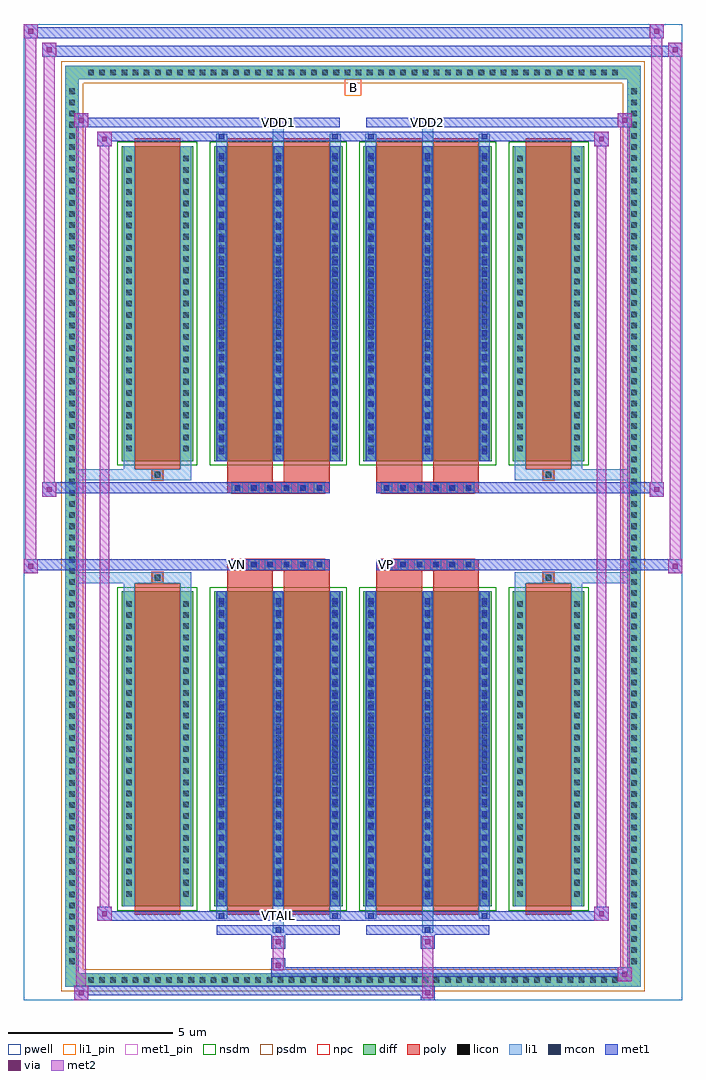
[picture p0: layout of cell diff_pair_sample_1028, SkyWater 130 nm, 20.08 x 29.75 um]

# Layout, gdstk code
import gdstk
lib = gdstk.Library(unit=1e-6, precision=5e-09)
def R(c, l, rs):  # rectangles x0, y0, x1, y1
    for r in rs: c.add(gdstk.rectangle(r[:2], r[2:], *l))
def A(c, l, x, y, w, h, nx, ny, dx, dy):  # array of equal rectangles
    R(c, l, [(x+i*dx, y+j*dy, x+i*dx+w, y+j*dy+h) for i in range(nx) for j in range(ny)])
def P(c, l, *ps):  # polygons
    for p in ps: c.add(gdstk.Polygon(p, *l))
pwell = (64, 44)
diff = (65, 20)
poly = (66, 20)
licon = (66, 44)
li1_pin = (67, 16)
li1 = (67, 20)
mcon = (67, 44)
met1_pin = (68, 16)
met1 = (68, 20)
via = (68, 44)
met2 = (69, 20)
nsdm = (93, 44)
psdm = (94, 20)
npc = (95, 20)

diff_pair_sample_1028 = lib.new_cell('diff_pair_sample_1028')
R(diff_pair_sample_1028, pwell, [(-10.04,-14.44,10.04,15.31), (-7.36,-12.63,-0.01,-0.805), (0.01,-12.63,7.36,-0.805), (-7.36,0.805,-0.01,12.63), (0.01,0.805,7.36,12.63)])
A(diff_pair_sample_1028, diff, -8.195, -14.04, 0.41, 0.41, 48, 2, 0.34, 27.67)
A(diff_pair_sample_1028, diff, -8.77, -13.465, 0.41, 0.41, 1, 79, 0, 0.34)
A(diff_pair_sample_1028, diff, 8.36, -13.465, 0.41, 0.41, 1, 79, 0, 0.34)
R(diff_pair_sample_1028, diff, [(-8.195,-14.04,8.195,-13.63), (-8.77,-13.465,-8.36,13.465), (8.36,-13.465,8.77,13.465), (-7.05,-11.585,-4.87,-1.985), (-4.23,-11.585,-0.32,-1.985), (0.32,-11.585,4.23,-1.985), (4.87,-11.585,7.05,-1.985), (-7.05,1.985,-4.87,11.585), (-4.23,1.985,-0.32,11.585), (0.32,1.985,4.23,11.585), (4.87,1.985,7.05,11.585), (-8.195,13.63,8.195,14.04)])
P(diff_pair_sample_1028, diff, [(8.77,14.04),(-8.77,14.04),(-8.77,-13.63),(-8.36,-13.63),(-8.36,13.63),(8.36,13.63),(8.36,-13.63),(-8.36,-13.63),(-8.77,-13.63),(-8.77,-14.04),(8.77,-14.04)])
A(diff_pair_sample_1028, poly, -3.69, -1.335, 0.33, 0.33, 6, 2, 0.5, 2.34)
A(diff_pair_sample_1028, poly, 0.86, -1.335, 0.33, 0.33, 6, 2, 0.5, 2.34)
R(diff_pair_sample_1028, poly, [(-6.66,-11.835,-5.26,-1.735), (-3.84,-11.835,-2.44,-1.735), (-2.11,-11.835,-0.71,-1.735), (0.71,-11.835,2.11,-1.735), (2.44,-11.835,3.84,-1.735), (5.26,-11.835,6.66,-1.735), (-6.125,-1.735,-5.795,-1.405), (-6.125,-1.735,-5.795,-1.405), (-3.84,-1.735,-2.44,-1.335), (-2.11,-1.735,-0.71,-1.335), (0.71,-1.735,2.11,-1.335), (2.44,-1.735,3.84,-1.335), (5.795,-1.735,6.125,-1.405), (5.795,-1.735,6.125,-1.405), (-3.84,-1.335,-0.71,-1.005), (0.71,-1.335,3.84,-1.005), (-3.84,1.005,-0.71,1.335), (0.71,1.005,3.84,1.335), (-3.84,1.335,-2.44,1.735), (-2.11,1.335,-0.71,1.735), (0.71,1.335,2.11,1.735), (2.44,1.335,3.84,1.735), (-6.125,1.405,-5.795,1.735), (-6.125,1.405,-5.795,1.735), (5.795,1.405,6.125,1.735), (5.795,1.405,6.125,1.735), (-6.66,1.735,-5.26,11.835), (-3.84,1.735,-2.44,11.835), (-2.11,1.735,-0.71,11.835), (0.71,1.735,2.11,11.835), (2.44,1.735,3.84,11.835), (5.26,1.735,6.66,11.835)])
A(diff_pair_sample_1028, licon, -8.075, -13.92, 0.17, 0.17, 48, 2, 0.34, 27.67)
A(diff_pair_sample_1028, licon, -8.65, -13.345, 0.17, 0.17, 1, 79, 0, 0.34)
A(diff_pair_sample_1028, licon, 8.48, -13.345, 0.17, 0.17, 1, 79, 0, 0.34)
A(diff_pair_sample_1028, licon, -6.91, -11.29, 0.17, 0.17, 1, 27, 0, 0.34)
A(diff_pair_sample_1028, licon, -5.18, -11.29, 0.17, 0.17, 1, 27, 0, 0.34)
A(diff_pair_sample_1028, licon, -4.09, -11.29, 0.17, 0.17, 3, 27, 1.73, 0.34)
A(diff_pair_sample_1028, licon, 0.46, -11.29, 0.17, 0.17, 3, 27, 1.73, 0.34)
A(diff_pair_sample_1028, licon, 5.01, -11.29, 0.17, 0.17, 1, 27, 0, 0.34)
A(diff_pair_sample_1028, licon, 6.74, -11.29, 0.17, 0.17, 1, 27, 0, 0.34)
A(diff_pair_sample_1028, licon, -3.61, -1.255, 0.17, 0.17, 6, 2, 0.5, 2.34)
A(diff_pair_sample_1028, licon, 0.94, -1.255, 0.17, 0.17, 6, 2, 0.5, 2.34)
A(diff_pair_sample_1028, licon, -6.91, 2.28, 0.17, 0.17, 1, 27, 0, 0.34)
A(diff_pair_sample_1028, licon, -5.18, 2.28, 0.17, 0.17, 1, 27, 0, 0.34)
A(diff_pair_sample_1028, licon, -4.09, 2.28, 0.17, 0.17, 3, 27, 1.73, 0.34)
A(diff_pair_sample_1028, licon, 0.46, 2.28, 0.17, 0.17, 3, 27, 1.73, 0.34)
A(diff_pair_sample_1028, licon, 5.01, 2.28, 0.17, 0.17, 1, 27, 0, 0.34)
A(diff_pair_sample_1028, licon, 6.74, 2.28, 0.17, 0.17, 1, 27, 0, 0.34)
R(diff_pair_sample_1028, licon, [(-6.045,-1.655,-5.875,-1.485), (5.875,-1.655,6.045,-1.485), (-6.045,1.485,-5.875,1.655), (5.875,1.485,6.045,1.655)])
R(diff_pair_sample_1028, li1_pin, [(-0.25,13.13,0.25,13.63)])
A(diff_pair_sample_1028, li1, -8.155, -14, 0.33, 0.33, 48, 2, 0.34, 27.67)
A(diff_pair_sample_1028, li1, -8.73, -13.425, 0.33, 0.33, 1, 79, 0, 0.34)
A(diff_pair_sample_1028, li1, 8.4, -13.425, 0.33, 0.33, 1, 79, 0, 0.34)
A(diff_pair_sample_1028, li1, -4.17, -11.585, 0.33, 9.6, 3, 2, 1.73, 13.57)
A(diff_pair_sample_1028, li1, 0.38, -11.585, 0.33, 9.6, 3, 2, 1.73, 13.57)
A(diff_pair_sample_1028, li1, -6.99, -11.37, 0.33, 0.33, 1, 27, 0, 0.34)
A(diff_pair_sample_1028, li1, -5.26, -11.37, 0.33, 0.33, 1, 27, 0, 0.34)
A(diff_pair_sample_1028, li1, -4.17, -11.37, 0.33, 0.33, 3, 27, 1.73, 0.34)
A(diff_pair_sample_1028, li1, -4.09, -11.37, 0.17, 0.17, 3, 26, 1.73, 0.36)
A(diff_pair_sample_1028, li1, -4.09, -11.37, 0.17, 9.17, 3, 2, 1.73, 13.57)
A(diff_pair_sample_1028, li1, 0.38, -11.37, 0.33, 0.33, 3, 27, 1.73, 0.34)
A(diff_pair_sample_1028, li1, 0.46, -11.37, 0.17, 0.17, 3, 26, 1.73, 0.36)
A(diff_pair_sample_1028, li1, 0.46, -11.37, 0.17, 9.17, 3, 2, 1.73, 13.57)
A(diff_pair_sample_1028, li1, 4.93, -11.37, 0.33, 0.33, 1, 27, 0, 0.34)
A(diff_pair_sample_1028, li1, 6.66, -11.37, 0.33, 0.33, 1, 27, 0, 0.34)
A(diff_pair_sample_1028, li1, -3.69, -1.335, 0.33, 0.33, 6, 2, 0.5, 2.34)
A(diff_pair_sample_1028, li1, 0.86, -1.335, 0.33, 0.33, 6, 2, 0.5, 2.34)
A(diff_pair_sample_1028, li1, -6.99, 2.2, 0.33, 0.33, 1, 27, 0, 0.34)
A(diff_pair_sample_1028, li1, -5.26, 2.2, 0.33, 0.33, 1, 27, 0, 0.34)
A(diff_pair_sample_1028, li1, -4.17, 2.2, 0.33, 0.33, 3, 27, 1.73, 0.34)
A(diff_pair_sample_1028, li1, -4.09, 2.2, 0.17, 0.17, 3, 26, 1.73, 0.36)
A(diff_pair_sample_1028, li1, 0.38, 2.2, 0.33, 0.33, 3, 27, 1.73, 0.34)
A(diff_pair_sample_1028, li1, 0.46, 2.2, 0.17, 0.17, 3, 26, 1.73, 0.36)
A(diff_pair_sample_1028, li1, 4.93, 2.2, 0.33, 0.33, 1, 27, 0, 0.34)
A(diff_pair_sample_1028, li1, 6.66, 2.2, 0.33, 0.33, 1, 27, 0, 0.34)
R(diff_pair_sample_1028, li1, [(-8.77,-14.04,-8.36,-13.63), (-8.77,-14.04,-8.36,-13.63), (-8.36,-14.04,8.36,-13.63), (8.36,-14.04,8.77,-13.63), (8.36,-14.04,8.77,-13.63), (-8.77,-13.63,-8.36,13.63), (8.36,-13.63,8.77,13.63), (-2.44,-12.39,-2.11,-11.585), (-2.36,-12.39,-2.19,-12.22), (2.11,-12.39,2.44,-11.585), (2.19,-12.39,2.36,-12.22), (-4.17,-11.96,-3.84,-11.585), (-4.09,-11.96,-3.92,-11.79), (-0.71,-11.96,-0.38,-11.585), (-0.63,-11.96,-0.46,-11.79), (0.38,-11.96,0.71,-11.585), (0.46,-11.96,0.63,-11.79), (3.84,-11.96,4.17,-11.585), (3.92,-11.96,4.09,-11.79), (-6.99,-11.585,-6.66,-1.985), (-5.26,-11.585,-4.93,-1.985), (4.93,-11.585,5.26,-1.985), (6.66,-11.585,6.99,-1.985), (-6.99,-1.985,-6.66,-1.405), (-5.26,-1.985,-4.93,-1.405), (4.93,-1.985,5.26,-1.405), (6.66,-1.985,6.99,-1.405), (-8.77,-1.735,-6.125,-1.405), (-6.99,-1.735,-6.125,-1.405), (-6.125,-1.735,-5.795,-1.405), (-5.795,-1.735,-4.93,-1.405), (4.93,-1.735,5.795,-1.405), (5.795,-1.735,6.125,-1.405), (5.795,-1.735,8.77,-1.405), (6.125,-1.735,6.99,-1.405), (-8.77,1.405,-6.125,1.735), (-6.99,1.405,-6.125,1.735), (-6.99,1.405,-6.66,1.985), (-6.125,1.405,-5.795,1.735), (-5.795,1.405,-4.93,1.735), (-5.26,1.405,-4.93,1.985), (4.93,1.405,5.795,1.735), (4.93,1.405,5.26,1.985), (5.795,1.405,6.125,1.735), (5.795,1.405,8.77,1.735), (6.125,1.405,6.99,1.735), (6.66,1.405,6.99,1.985), (-6.99,1.985,-6.66,11.585), (-5.26,1.985,-4.93,11.585), (4.93,1.985,5.26,11.585), (6.66,1.985,6.99,11.585), (-4.17,11.585,-3.84,11.96), (-2.44,11.585,-2.11,12.39), (-0.71,11.585,-0.38,11.96), (0.38,11.585,0.71,11.96), (2.11,11.585,2.44,12.39), (3.84,11.585,4.17,11.96), (-4.09,11.79,-3.92,11.96), (-0.63,11.79,-0.46,11.96), (0.46,11.79,0.63,11.96), (3.92,11.79,4.09,11.96), (-2.36,12.22,-2.19,12.39), (2.19,12.22,2.36,12.39), (-8.77,13.63,-8.36,14.04), (-8.77,13.63,-8.36,14.04), (-8.36,13.63,8.36,14.04), (8.36,13.63,8.77,14.04), (8.36,13.63,8.77,14.04)])
A(diff_pair_sample_1028, mcon, -4.09, -11.37, 0.17, 0.17, 3, 26, 1.73, 0.36)
A(diff_pair_sample_1028, mcon, 0.46, -11.37, 0.17, 0.17, 3, 26, 1.73, 0.36)
A(diff_pair_sample_1028, mcon, -3.61, -1.255, 0.17, 0.17, 6, 2, 0.5, 2.34)
A(diff_pair_sample_1028, mcon, 0.94, -1.255, 0.17, 0.17, 6, 2, 0.5, 2.34)
A(diff_pair_sample_1028, mcon, -4.09, 2.2, 0.17, 0.17, 3, 26, 1.73, 0.36)
A(diff_pair_sample_1028, mcon, 0.46, 2.2, 0.17, 0.17, 3, 26, 1.73, 0.36)
R(diff_pair_sample_1028, mcon, [(-2.36,-12.39,-2.19,-12.22), (2.19,-12.39,2.36,-12.22), (-4.09,-11.96,-3.92,-11.79), (-0.63,-11.96,-0.46,-11.79), (0.46,-11.96,0.63,-11.79), (3.92,-11.96,4.09,-11.79), (-4.09,11.79,-3.92,11.96), (-0.63,11.79,-0.46,11.96), (0.46,11.79,0.63,11.96), (3.92,11.79,4.09,11.96), (-2.36,12.22,-2.19,12.39), (2.19,12.22,2.36,12.39)])
R(diff_pair_sample_1028, met1_pin, [(-2.41,-12,-2.14,-11.73), (-3.66,-1.295,-3.39,-1.025), (0.89,-1.295,1.16,-1.025), (-2.41,12.18,-2.14,12.45), (2.14,12.18,2.41,12.45)])
A(diff_pair_sample_1028, met1, -4.15, -11.585, 0.29, 9.6, 3, 2, 1.73, 13.57)
A(diff_pair_sample_1028, met1, 0.4, -11.585, 0.29, 9.6, 3, 2, 1.73, 13.57)
A(diff_pair_sample_1028, met1, -4.15, -11.43, 0.29, 0.29, 3, 26, 1.73, 0.36)
A(diff_pair_sample_1028, met1, 0.4, -11.43, 0.29, 0.29, 3, 26, 1.73, 0.36)
A(diff_pair_sample_1028, met1, -3.67, -1.315, 0.29, 0.29, 6, 2, 0.5, 2.34)
A(diff_pair_sample_1028, met1, 0.88, -1.315, 0.29, 0.29, 6, 2, 0.5, 2.34)
A(diff_pair_sample_1028, met1, -4.15, 2.14, 0.29, 0.29, 3, 26, 1.73, 0.36)
A(diff_pair_sample_1028, met1, 0.4, 2.14, 0.29, 0.29, 3, 26, 1.73, 0.36)
R(diff_pair_sample_1028, met1, [(-8.5,-14.44,-8.07,-14.01), (2.06,-14.44,2.49,-14.01), (-8.5,-14.3,2.49,-14.01), (8.07,-13.87,8.5,-13.44), (-2.49,-13.73,8.5,-13.44), (-2.49,-13.59,-2.06,-13.16), (-2.49,-12.88,-2.06,-12.45), (2.06,-12.88,2.49,-12.45), (-4.15,-12.45,-0.4,-12.16), (-2.42,-12.45,-2.13,-12.16), (0.4,-12.45,4.15,-12.16), (2.13,-12.45,2.42,-12.16), (-7.79,-12.02,-7.36,-11.59), (-7.79,-12.02,-4.15,-11.73), (-4.15,-12.02,-3.86,-11.73), (-4.15,-12.02,-0.4,-11.73), (-0.69,-12.02,-0.4,-11.73), (-0.4,-12.02,0.4,-11.73), (0.4,-12.02,0.69,-11.73), (0.4,-12.02,4.15,-11.73), (3.86,-12.02,4.15,-11.73), (4.15,-12.02,7.79,-11.73), (7.36,-12.02,7.79,-11.59), (-10.04,-1.435,-9.61,-1.005), (9.61,-1.435,10.04,-1.005), (-10.04,-1.335,-0.71,-1.005), (-3.84,-1.335,-0.71,-1.005), (0.71,-1.335,3.84,-1.005), (0.71,-1.335,10.04,-1.005), (-9.47,0.905,-9.04,1.335), (9.04,0.905,9.47,1.335), (-9.47,1.005,-3.84,1.335), (-3.84,1.005,-0.71,1.335), (0.71,1.005,3.84,1.335), (3.84,1.005,9.47,1.335), (-7.79,11.59,-7.36,12.02), (7.36,11.59,7.79,12.02), (-7.79,11.73,-4.15,12.02), (-4.15,11.73,-3.86,12.02), (-4.15,11.73,-0.4,12.02), (-0.69,11.73,-0.4,12.02), (-0.4,11.73,0.4,12.02), (0.4,11.73,0.69,12.02), (0.4,11.73,4.15,12.02), (3.86,11.73,4.15,12.02), (4.15,11.73,7.79,12.02), (-8.5,12.16,-8.07,12.59), (-8.5,12.16,-4.15,12.45), (-4.15,12.16,-0.4,12.45), (-2.42,12.16,-2.13,12.45), (0.4,12.16,4.15,12.45), (2.13,12.16,2.42,12.45), (4.15,12.16,8.5,12.45), (8.07,12.16,8.5,12.59), (-9.47,14.31,-9.04,14.74), (-9.47,14.31,-7.36,14.64), (-7.36,14.31,7.36,14.64), (7.36,14.31,10.04,14.64), (9.61,14.31,10.04,14.74), (-10.04,14.88,-9.61,15.31), (-10.04,14.88,-7.36,15.21), (-7.36,14.88,7.36,15.21), (7.36,14.88,9.47,15.21), (9.04,14.88,9.47,15.31)])
R(diff_pair_sample_1028, via, [(-8.36,-14.3,-8.21,-14.15), (2.2,-14.3,2.35,-14.15), (8.21,-13.73,8.36,-13.58), (-2.35,-13.45,-2.2,-13.3), (-2.35,-12.74,-2.2,-12.59), (2.2,-12.74,2.35,-12.59), (-7.65,-11.88,-7.5,-11.73), (7.5,-11.88,7.65,-11.73), (-9.9,-1.295,-9.75,-1.145), (9.75,-1.295,9.9,-1.145), (-9.33,1.045,-9.18,1.195), (9.18,1.045,9.33,1.195), (-7.65,11.73,-7.5,11.88), (7.5,11.73,7.65,11.88), (-8.36,12.3,-8.21,12.45), (8.21,12.3,8.36,12.45), (-9.33,14.45,-9.18,14.6), (9.75,14.45,9.9,14.6), (-9.9,15.02,-9.75,15.17), (9.18,15.02,9.33,15.17)])
R(diff_pair_sample_1028, met2, [(-8.5,-14.44,-8.07,-14.01), (-8.43,-14.44,-8.14,12.59), (-8.14,-14.44,-8.07,-14.01), (-8.45,-14.39,-8.12,-14.06), (2.11,-14.39,2.44,-14.06), (2.11,-14.06,2.44,-12.83), (8.07,-13.87,8.5,-13.44), (8.14,-13.87,8.43,12.59), (8.43,-13.87,8.5,-13.44), (8.12,-13.82,8.45,-13.49), (-2.44,-13.54,-2.11,-13.21), (-2.44,-13.21,-2.11,-12.83), (-2.44,-12.83,-2.11,-12.5), (2.11,-12.83,2.44,-12.5), (-7.79,-12.02,-7.36,-11.59), (-7.72,-12.02,-7.43,12.02), (-7.43,-12.02,-7.36,-11.59), (7.36,-12.02,7.79,-11.59), (7.43,-12.02,7.72,12.02), (7.72,-12.02,7.79,-11.59), (-7.74,-11.97,-7.41,-11.64), (7.41,-11.97,7.74,-11.64), (-10.04,-1.435,-9.61,-1.005), (-9.99,-1.435,-9.66,15.31), (-9.66,-1.435,-9.61,-1.005), (9.61,-1.435,10.04,-1.005), (9.66,-1.435,9.99,14.74), (9.99,-1.435,10.04,-1.005), (-9.99,-1.385,-9.66,-1.055), (9.66,-1.385,9.99,-1.055), (-9.47,0.905,-9.04,1.335), (-9.42,0.905,-9.09,14.74), (-9.09,0.905,-9.04,1.335), (9.04,0.905,9.47,1.335), (9.09,0.905,9.42,15.31), (9.42,0.905,9.47,1.335), (-9.42,0.955,-9.09,1.285), (9.09,0.955,9.42,1.285), (-7.79,11.59,-7.36,12.02), (-7.43,11.59,-7.36,12.02), (7.36,11.59,7.79,12.02), (7.72,11.59,7.79,12.02), (-7.74,11.64,-7.41,11.97), (7.41,11.64,7.74,11.97), (-8.5,12.16,-8.07,12.59), (-8.14,12.16,-8.07,12.59), (8.07,12.16,8.5,12.59), (8.43,12.16,8.5,12.59), (-8.45,12.21,-8.12,12.54), (8.12,12.21,8.45,12.54), (-9.47,14.31,-9.04,14.74), (-9.09,14.31,-9.04,14.74), (9.61,14.31,10.04,14.74), (9.99,14.31,10.04,14.74), (-9.42,14.36,-9.09,14.69), (9.66,14.36,9.99,14.69), (-10.04,14.88,-9.61,15.31), (-9.66,14.88,-9.61,15.31), (9.04,14.88,9.47,15.31), (9.42,14.88,9.47,15.31), (-9.99,14.93,-9.66,15.26), (9.09,14.93,9.42,15.26)])
R(diff_pair_sample_1028, nsdm, [(-7.18,-11.715,-4.74,-1.855), (-4.36,-11.715,-0.19,-1.855), (0.19,-11.715,4.36,-1.855), (4.74,-11.715,7.18,-1.855), (-7.18,1.855,-4.74,11.715), (-4.36,1.855,-0.19,11.715), (0.19,1.855,4.36,11.715), (4.74,1.855,7.18,11.715)])
P(diff_pair_sample_1028, psdm, [(8.9,14.17),(-8.9,14.17),(-8.9,-13.5),(-8.23,-13.5),(-8.23,13.5),(8.23,13.5),(8.23,-13.5),(-8.23,-13.5),(-8.9,-13.5),(-8.9,-14.17),(8.9,-14.17)])
A(diff_pair_sample_1028, npc, -3.71, -1.355, 0.37, 0.37, 6, 2, 0.5, 2.34)
A(diff_pair_sample_1028, npc, 0.84, -1.355, 0.37, 0.37, 6, 2, 0.5, 2.34)
R(diff_pair_sample_1028, npc, [(-6.145,-1.755,-5.775,-1.385), (5.775,-1.755,6.145,-1.385), (-3.71,-1.355,-2.84,-0.985), (-3.71,-1.355,-2.84,-0.985), (-3.21,-1.355,-2.34,-0.985), (-3.21,-1.355,-2.34,-0.985), (-2.71,-1.355,-1.84,-0.985), (-2.71,-1.355,-1.84,-0.985), (-2.21,-1.355,-1.34,-0.985), (-2.21,-1.355,-1.34,-0.985), (-1.71,-1.355,-0.84,-0.985), (-1.71,-1.355,-0.84,-0.985), (0.84,-1.355,1.71,-0.985), (0.84,-1.355,1.71,-0.985), (1.34,-1.355,2.21,-0.985), (1.34,-1.355,2.21,-0.985), (1.84,-1.355,2.71,-0.985), (1.84,-1.355,2.71,-0.985), (2.34,-1.355,3.21,-0.985), (2.34,-1.355,3.21,-0.985), (2.84,-1.355,3.71,-0.985), (2.84,-1.355,3.71,-0.985), (-3.71,0.985,-2.84,1.355), (-3.71,0.985,-2.84,1.355), (-3.21,0.985,-2.34,1.355), (-3.21,0.985,-2.34,1.355), (-2.71,0.985,-1.84,1.355), (-2.71,0.985,-1.84,1.355), (-2.21,0.985,-1.34,1.355), (-2.21,0.985,-1.34,1.355), (-1.71,0.985,-0.84,1.355), (-1.71,0.985,-0.84,1.355), (0.84,0.985,1.71,1.355), (0.84,0.985,1.71,1.355), (1.34,0.985,2.21,1.355), (1.34,0.985,2.21,1.355), (1.84,0.985,2.71,1.355), (1.84,0.985,2.71,1.355), (2.34,0.985,3.21,1.355), (2.34,0.985,3.21,1.355), (2.84,0.985,3.71,1.355), (2.84,0.985,3.71,1.355), (-6.145,1.385,-5.775,1.755), (5.775,1.385,6.145,1.755)])
diff_pair_sample_1028.add(gdstk.Label('VTAIL', (-2.275,-11.865), layer=68, texttype=5))
diff_pair_sample_1028.add(gdstk.Label('VN', (-3.525,-1.16), layer=68, texttype=5))
diff_pair_sample_1028.add(gdstk.Label('VP', (1.025,-1.16), layer=68, texttype=5))
diff_pair_sample_1028.add(gdstk.Label('B', (0,13.38), layer=67, texttype=5))
diff_pair_sample_1028.add(gdstk.Label('VDD2', (2.275,12.315), layer=68, texttype=5))
diff_pair_sample_1028.add(gdstk.Label('VDD1', (-2.275,12.315), layer=68, texttype=5))

lib.write_gds('diff_pair_sample_1028.gds')
